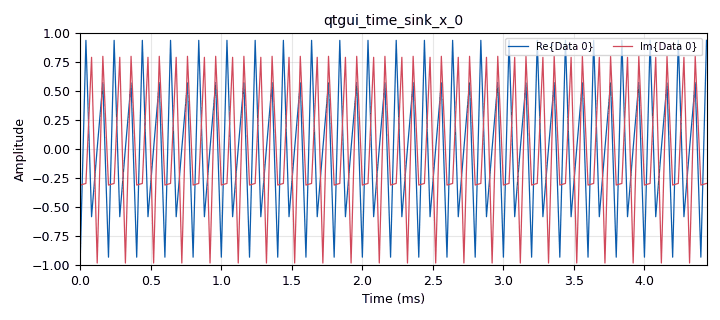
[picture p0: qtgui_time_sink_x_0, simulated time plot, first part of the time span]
options:
  parameters:
    author: sten
    generate_options: qt_gui
    id: Labo_3
    output_language: python
    title: Oefening 3
  states: {}

blocks:
- name: decimationfactor
  id: variable
  parameters:
    value: '8'
  states: {}
- name: samp_rate
  id: variable
  parameters:
    value: 200e3
  states: {}
- name: analog_sig_source_x_0
  id: analog_sig_source_x
  parameters:
    amp: '1'
    freq: 10e3
    offset: '0'
    phase: '0'
    samp_rate: samp_rate
    type: complex
    waveform: analog.GR_COS_WAVE
  states: {}
- name: blocks_throttle_0
  id: blocks_throttle
  parameters:
    samples_per_second: samp_rate
    type: complex
  states: {}
- name: qtgui_time_sink_x_0
  id: qtgui_time_sink_x
  parameters:
    ctrlpanel: 'True'
    size: '1024'
    srate: samp_rate / decimationfactor
    tr_mode: qtgui.TRIG_MODE_AUTO
    type: complex
  states: {}
- name: rational_resampler_xxx_0
  id: rational_resampler_xxx
  parameters:
    decim: decimationfactor
    interp: '1'
    type: ccc
  states: {}

connections:
- [analog_sig_source_x_0, '0', blocks_throttle_0, '0']
- [blocks_throttle_0, '0', rational_resampler_xxx_0, '0']
- [rational_resampler_xxx_0, '0', qtgui_time_sink_x_0, '0']

metadata:
  file_format: 1
